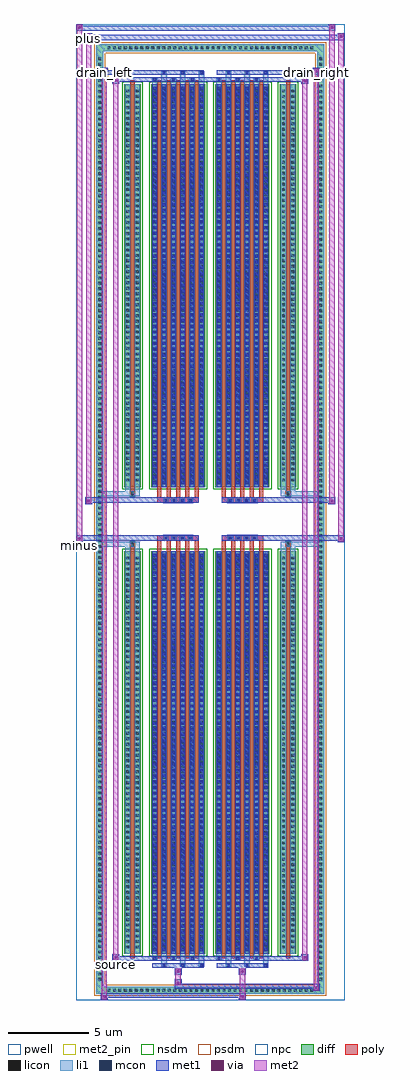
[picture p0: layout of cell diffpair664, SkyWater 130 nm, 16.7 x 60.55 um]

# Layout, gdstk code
import gdstk
lib = gdstk.Library(unit=1e-6, precision=5e-09)
def R(c, l, rs):  # rectangles x0, y0, x1, y1
    for r in rs: c.add(gdstk.rectangle(r[:2], r[2:], *l))
def A(c, l, x, y, w, h, nx, ny, dx, dy):  # array of equal rectangles
    R(c, l, [(x+i*dx, y+j*dy, x+i*dx+w, y+j*dy+h) for i in range(nx) for j in range(ny)])
def P(c, l, *ps):  # polygons
    for p in ps: c.add(gdstk.Polygon(p, *l))
pwell = (64, 44)
diff = (65, 20)
poly = (66, 20)
licon = (66, 44)
li1 = (67, 20)
mcon = (67, 44)
met1 = (68, 20)
via = (68, 44)
met2_pin = (69, 16)
met2 = (69, 20)
nsdm = (93, 44)
psdm = (94, 20)
npc = (95, 20)

diffpair664 = lib.new_cell('diffpair664')
R(diffpair664, pwell, [(-8.33,-29.84,8.33,30.71), (-5.65,-28.03,-0.01,-0.805), (0.01,-28.03,5.65,-0.805), (-5.65,0.805,-0.01,28.03), (0.01,0.805,5.65,28.03)])
A(diffpair664, diff, -6.495, -29.44, 0.41, 0.41, 38, 2, 0.34, 58.47)
A(diffpair664, diff, -7.06, -28.765, 0.41, 0.41, 1, 169, 0, 0.34)
A(diffpair664, diff, 6.65, -28.765, 0.41, 0.41, 1, 169, 0, 0.34)
R(diffpair664, diff, [(-6.495,-29.44,6.495,-29.03), (-7.06,-28.765,-6.65,28.765), (6.65,-28.765,7.06,28.765), (-5.34,-26.985,-4.31,-1.985), (-3.67,-26.985,-0.32,-1.985), (0.32,-26.985,3.67,-1.985), (4.31,-26.985,5.34,-1.985), (-5.34,1.985,-4.31,26.985), (-3.67,1.985,-0.32,26.985), (0.32,1.985,3.67,26.985), (4.31,1.985,5.34,26.985), (-6.495,29.03,6.495,29.44)])
P(diffpair664, diff, [(7.06,29.44),(-7.06,29.44),(-7.06,-29.03),(-6.65,-29.03),(-6.65,29.03),(6.65,29.03),(6.65,-29.03),(-6.65,-29.03),(-7.06,-29.03),(-7.06,-29.44),(7.06,-29.44)])
A(diffpair664, poly, -3.28, -27.235, 0.25, 25.5, 5, 2, 0.58, 28.97)
A(diffpair664, poly, 0.71, -27.235, 0.25, 25.5, 5, 2, 0.58, 28.97)
A(diffpair664, poly, -3.28, -1.735, 0.25, 0.4, 5, 2, 0.58, 3.07)
A(diffpair664, poly, 0.71, -1.735, 0.25, 0.4, 5, 2, 0.58, 3.07)
A(diffpair664, poly, -2.91, -1.335, 0.33, 0.33, 4, 2, 0.5, 2.34)
A(diffpair664, poly, 1.08, -1.335, 0.33, 0.33, 4, 2, 0.5, 2.34)
R(diffpair664, poly, [(-4.95,-27.235,-4.7,-1.735), (4.7,-27.235,4.95,-1.735), (-4.99,-1.735,-4.66,-1.405), (-4.99,-1.735,-4.66,-1.405), (4.66,-1.735,4.99,-1.405), (4.66,-1.735,4.99,-1.405), (-3.28,-1.335,-0.71,-1.005), (0.71,-1.335,3.28,-1.005), (-3.28,1.005,-0.71,1.335), (0.71,1.005,3.28,1.335), (-4.99,1.405,-4.66,1.735), (-4.99,1.405,-4.66,1.735), (4.66,1.405,4.99,1.735), (4.66,1.405,4.99,1.735), (-4.95,1.735,-4.7,27.235), (4.7,1.735,4.95,27.235)])
A(diffpair664, licon, -6.375, -29.32, 0.17, 0.17, 38, 2, 0.34, 58.47)
A(diffpair664, licon, -6.94, -28.645, 0.17, 0.17, 1, 169, 0, 0.34)
A(diffpair664, licon, 6.77, -28.645, 0.17, 0.17, 1, 169, 0, 0.34)
A(diffpair664, licon, -5.2, -26.64, 0.17, 0.17, 1, 72, 0, 0.34)
A(diffpair664, licon, -4.62, -26.64, 0.17, 0.17, 1, 72, 0, 0.34)
A(diffpair664, licon, -3.53, -26.64, 0.17, 0.17, 6, 72, 0.58, 0.34)
A(diffpair664, licon, 0.46, -26.64, 0.17, 0.17, 6, 72, 0.58, 0.34)
A(diffpair664, licon, 4.45, -26.64, 0.17, 0.17, 1, 72, 0, 0.34)
A(diffpair664, licon, 5.03, -26.64, 0.17, 0.17, 1, 72, 0, 0.34)
A(diffpair664, licon, -2.83, -1.255, 0.17, 0.17, 4, 2, 0.5, 2.34)
A(diffpair664, licon, 1.16, -1.255, 0.17, 0.17, 4, 2, 0.5, 2.34)
A(diffpair664, licon, -5.2, 2.33, 0.17, 0.17, 1, 72, 0, 0.34)
A(diffpair664, licon, -4.62, 2.33, 0.17, 0.17, 1, 72, 0, 0.34)
A(diffpair664, licon, -3.53, 2.33, 0.17, 0.17, 6, 72, 0.58, 0.34)
A(diffpair664, licon, 0.46, 2.33, 0.17, 0.17, 6, 72, 0.58, 0.34)
A(diffpair664, licon, 4.45, 2.33, 0.17, 0.17, 1, 72, 0, 0.34)
A(diffpair664, licon, 5.03, 2.33, 0.17, 0.17, 1, 72, 0, 0.34)
R(diffpair664, licon, [(-4.91,-1.655,-4.74,-1.485), (4.74,-1.655,4.91,-1.485), (-4.91,1.485,-4.74,1.655), (4.74,1.485,4.91,1.655)])
A(diffpair664, li1, -6.455, -29.4, 0.33, 0.33, 38, 2, 0.34, 58.47)
A(diffpair664, li1, -7.02, -28.725, 0.33, 0.33, 1, 169, 0, 0.34)
A(diffpair664, li1, 6.69, -28.725, 0.33, 0.33, 1, 169, 0, 0.34)
A(diffpair664, li1, -3.03, -27.79, 0.33, 0.805, 3, 2, 1.16, 54.775)
A(diffpair664, li1, -2.95, -27.79, 0.17, 0.17, 3, 2, 1.16, 55.41)
A(diffpair664, li1, 0.96, -27.79, 0.33, 0.805, 3, 2, 1.16, 54.775)
A(diffpair664, li1, 1.04, -27.79, 0.17, 0.17, 3, 2, 1.16, 55.41)
A(diffpair664, li1, -3.61, -27.36, 0.33, 0.375, 3, 2, 1.16, 54.345)
A(diffpair664, li1, -3.53, -27.36, 0.17, 0.17, 3, 2, 1.16, 54.55)
A(diffpair664, li1, 0.38, -27.36, 0.33, 0.375, 3, 2, 1.16, 54.345)
A(diffpair664, li1, 0.46, -27.36, 0.17, 0.17, 3, 2, 1.16, 54.55)
A(diffpair664, li1, -3.61, -26.985, 0.33, 25, 6, 2, 0.58, 28.97)
A(diffpair664, li1, 0.38, -26.985, 0.33, 25, 6, 2, 0.58, 28.97)
A(diffpair664, li1, -3.53, -26.81, 0.17, 0.17, 6, 69, 0.58, 0.36)
A(diffpair664, li1, -3.53, -26.81, 0.17, 24.65, 6, 2, 0.58, 28.97)
A(diffpair664, li1, 0.46, -26.81, 0.17, 0.17, 6, 69, 0.58, 0.36)
A(diffpair664, li1, 0.46, -26.81, 0.17, 24.65, 6, 2, 0.58, 28.97)
A(diffpair664, li1, -5.28, -26.72, 0.33, 0.33, 1, 72, 0, 0.34)
A(diffpair664, li1, -4.7, -26.72, 0.33, 0.33, 1, 72, 0, 0.34)
A(diffpair664, li1, -3.61, -26.72, 0.33, 0.33, 6, 72, 0.58, 0.34)
A(diffpair664, li1, 0.38, -26.72, 0.33, 0.33, 6, 72, 0.58, 0.34)
A(diffpair664, li1, 4.37, -26.72, 0.33, 0.33, 1, 72, 0, 0.34)
A(diffpair664, li1, 4.95, -26.72, 0.33, 0.33, 1, 72, 0, 0.34)
A(diffpair664, li1, -2.91, -1.335, 0.33, 0.33, 4, 2, 0.5, 2.34)
A(diffpair664, li1, 1.08, -1.335, 0.33, 0.33, 4, 2, 0.5, 2.34)
A(diffpair664, li1, -3.53, 2.16, 0.17, 0.17, 6, 69, 0.58, 0.36)
A(diffpair664, li1, 0.46, 2.16, 0.17, 0.17, 6, 69, 0.58, 0.36)
A(diffpair664, li1, -5.28, 2.25, 0.33, 0.33, 1, 72, 0, 0.34)
A(diffpair664, li1, -4.7, 2.25, 0.33, 0.33, 1, 72, 0, 0.34)
A(diffpair664, li1, -3.61, 2.25, 0.33, 0.33, 6, 72, 0.58, 0.34)
A(diffpair664, li1, 0.38, 2.25, 0.33, 0.33, 6, 72, 0.58, 0.34)
A(diffpair664, li1, 4.37, 2.25, 0.33, 0.33, 1, 72, 0, 0.34)
A(diffpair664, li1, 4.95, 2.25, 0.33, 0.33, 1, 72, 0, 0.34)
R(diffpair664, li1, [(-7.06,-29.44,-6.65,-29.03), (-7.06,-29.44,-6.65,-29.03), (-6.65,-29.44,6.65,-29.03), (6.65,-29.44,7.06,-29.03), (6.65,-29.44,7.06,-29.03), (-7.06,-29.03,-6.65,29.03), (6.65,-29.03,7.06,29.03), (-5.28,-26.985,-4.95,-1.985), (-4.7,-26.985,-4.37,-1.985), (4.37,-26.985,4.7,-1.985), (4.95,-26.985,5.28,-1.985), (-5.28,-1.985,-4.95,-1.405), (-4.7,-1.985,-4.37,-1.405), (4.37,-1.985,4.7,-1.405), (4.95,-1.985,5.28,-1.405), (-7.06,-1.735,-4.99,-1.405), (-5.28,-1.735,-4.99,-1.405), (-4.99,-1.735,-4.66,-1.405), (-4.66,-1.735,-4.37,-1.405), (4.37,-1.735,4.66,-1.405), (4.66,-1.735,4.99,-1.405), (4.66,-1.735,7.06,-1.405), (4.99,-1.735,5.28,-1.405), (-7.06,1.405,-4.99,1.735), (-5.28,1.405,-4.99,1.735), (-5.28,1.405,-4.95,1.985), (-4.99,1.405,-4.66,1.735), (-4.7,1.405,-4.37,1.985), (-4.66,1.405,-4.37,1.735), (4.37,1.405,4.66,1.735), (4.37,1.405,4.7,1.985), (4.66,1.405,4.99,1.735), (4.66,1.405,7.06,1.735), (4.95,1.405,5.28,1.985), (4.99,1.405,5.28,1.735), (-5.28,1.985,-4.95,26.985), (-4.7,1.985,-4.37,26.985), (4.37,1.985,4.7,26.985), (4.95,1.985,5.28,26.985), (-7.06,29.03,-6.65,29.44), (-7.06,29.03,-6.65,29.44), (-6.65,29.03,6.65,29.44), (6.65,29.03,7.06,29.44), (6.65,29.03,7.06,29.44)])
A(diffpair664, mcon, -2.95, -27.79, 0.17, 0.17, 3, 2, 1.16, 55.41)
A(diffpair664, mcon, 1.04, -27.79, 0.17, 0.17, 3, 2, 1.16, 55.41)
A(diffpair664, mcon, -3.53, -27.36, 0.17, 0.17, 3, 2, 1.16, 54.55)
A(diffpair664, mcon, 0.46, -27.36, 0.17, 0.17, 3, 2, 1.16, 54.55)
A(diffpair664, mcon, -3.53, -26.81, 0.17, 0.17, 6, 69, 0.58, 0.36)
A(diffpair664, mcon, 0.46, -26.81, 0.17, 0.17, 6, 69, 0.58, 0.36)
A(diffpair664, mcon, -2.83, -1.255, 0.17, 0.17, 4, 2, 0.5, 2.34)
A(diffpair664, mcon, 1.16, -1.255, 0.17, 0.17, 4, 2, 0.5, 2.34)
A(diffpair664, mcon, -3.53, 2.16, 0.17, 0.17, 6, 69, 0.58, 0.36)
A(diffpair664, mcon, 0.46, 2.16, 0.17, 0.17, 6, 69, 0.58, 0.36)
A(diffpair664, met1, -3.01, -27.85, 0.29, 0.29, 3, 2, 1.16, 55.41)
A(diffpair664, met1, 0.98, -27.85, 0.29, 0.29, 3, 2, 1.16, 55.41)
A(diffpair664, met1, -3.59, -27.42, 0.29, 0.29, 3, 2, 1.16, 54.55)
A(diffpair664, met1, 0.4, -27.42, 0.29, 0.29, 3, 2, 1.16, 54.55)
A(diffpair664, met1, -3.59, -26.985, 0.29, 25, 6, 2, 0.58, 28.97)
A(diffpair664, met1, 0.4, -26.985, 0.29, 25, 6, 2, 0.58, 28.97)
A(diffpair664, met1, -3.59, -26.87, 0.29, 0.29, 6, 69, 0.58, 0.36)
A(diffpair664, met1, 0.4, -26.87, 0.29, 0.29, 6, 69, 0.58, 0.36)
A(diffpair664, met1, -2.89, -1.315, 0.29, 0.29, 4, 2, 0.5, 2.34)
A(diffpair664, met1, 1.1, -1.315, 0.29, 0.29, 4, 2, 0.5, 2.34)
A(diffpair664, met1, -3.59, 2.1, 0.29, 0.29, 6, 69, 0.58, 0.36)
A(diffpair664, met1, 0.4, 2.1, 0.29, 0.29, 6, 69, 0.58, 0.36)
R(diffpair664, met1, [(-6.79,-29.84,-6.36,-29.41), (1.78,-29.84,2.21,-29.41), (-6.79,-29.7,2.21,-29.41), (6.36,-29.27,6.79,-28.84), (-2.21,-29.13,6.79,-28.84), (-2.21,-28.99,-1.78,-28.56), (-2.21,-28.28,-1.78,-27.85), (1.78,-28.28,2.21,-27.85), (-3.59,-27.85,-0.4,-27.56), (0.4,-27.85,3.59,-27.56), (-6.08,-27.42,-5.65,-26.99), (-6.08,-27.42,-3.59,-27.13), (-3.59,-27.42,-0.4,-27.13), (-0.4,-27.42,0.4,-27.13), (0.4,-27.42,3.59,-27.13), (3.59,-27.42,6.08,-27.13), (5.65,-27.42,6.08,-26.99), (-8.33,-1.435,-7.9,-1.005), (7.9,-1.435,8.33,-1.005), (-8.33,-1.335,-0.71,-1.005), (-3.28,-1.335,-0.71,-1.005), (0.71,-1.335,3.28,-1.005), (0.71,-1.335,8.33,-1.005), (-7.76,0.905,-7.33,1.335), (7.33,0.905,7.76,1.335), (-7.76,1.005,-3.28,1.335), (-3.28,1.005,-0.71,1.335), (0.71,1.005,3.28,1.335), (3.28,1.005,7.76,1.335), (-6.08,26.99,-5.65,27.42), (5.65,26.99,6.08,27.42), (-6.08,27.13,-3.59,27.42), (-3.59,27.13,-0.4,27.42), (-0.4,27.13,0.4,27.42), (0.4,27.13,3.59,27.42), (3.59,27.13,6.08,27.42), (-6.79,27.56,-6.36,27.99), (-6.79,27.56,-3.59,27.85), (-3.59,27.56,-0.4,27.85), (0.4,27.56,3.59,27.85), (3.59,27.56,6.79,27.85), (6.36,27.56,6.79,27.99), (-7.76,29.71,-7.33,30.14), (-7.76,29.71,-5.65,30.04), (-5.65,29.71,5.65,30.04), (5.65,29.71,8.33,30.04), (7.9,29.71,8.33,30.14), (-8.33,30.28,-7.9,30.71), (-8.33,30.28,-5.65,30.61), (-5.65,30.28,5.65,30.61), (5.65,30.28,7.76,30.61), (7.33,30.28,7.76,30.71)])
R(diffpair664, via, [(-6.65,-29.7,-6.5,-29.55), (1.92,-29.7,2.07,-29.55), (6.5,-29.13,6.65,-28.98), (-2.07,-28.85,-1.92,-28.7), (-2.07,-28.14,-1.92,-27.99), (1.92,-28.14,2.07,-27.99), (-5.94,-27.28,-5.79,-27.13), (5.79,-27.28,5.94,-27.13), (-8.19,-1.295,-8.04,-1.145), (8.04,-1.295,8.19,-1.145), (-7.62,1.045,-7.47,1.195), (7.47,1.045,7.62,1.195), (-5.94,27.13,-5.79,27.28), (5.79,27.13,5.94,27.28), (-6.65,27.7,-6.5,27.85), (6.5,27.7,6.65,27.85), (-7.62,29.85,-7.47,30), (8.04,29.85,8.19,30), (-8.19,30.42,-8.04,30.57), (7.47,30.42,7.62,30.57)])
R(diffpair664, met2_pin, [(-6.115,-27.87,-5.615,-27.37), (-8.365,-1.885,-7.865,-1.385), (-6.825,27.44,-6.325,27.94), (6.325,27.44,6.825,27.94), (-7.795,29.59,-7.295,30.09)])
R(diffpair664, met2, [(-6.74,-29.79,-6.41,-29.46), (-6.74,-29.79,-6.41,27.94), (1.83,-29.79,2.16,-29.46), (1.83,-29.46,2.16,-28.23), (6.41,-29.22,6.74,-28.89), (6.41,-29.22,6.74,27.94), (-2.16,-28.94,-1.83,-28.61), (-2.16,-28.61,-1.83,-28.23), (-2.16,-28.23,-1.83,-27.9), (1.83,-28.23,2.16,-27.9), (-6.03,-27.37,-5.7,-27.04), (-6.03,-27.37,-5.7,27.37), (5.7,-27.37,6.03,-27.04), (5.7,-27.37,6.03,27.37), (-8.28,-1.385,-7.95,-1.055), (-8.28,-1.385,-7.95,30.66), (7.95,-1.385,8.28,-1.055), (7.95,-1.385,8.28,30.09), (-7.71,0.955,-7.38,1.285), (-7.71,0.955,-7.38,30.09), (7.38,0.955,7.71,1.285), (7.38,0.955,7.71,30.66), (-6.03,27.04,-5.7,27.37), (5.7,27.04,6.03,27.37), (-6.74,27.61,-6.41,27.94), (6.41,27.61,6.74,27.94), (-7.71,29.76,-7.38,30.09), (7.95,29.76,8.28,30.09), (-8.28,30.33,-7.95,30.66), (7.38,30.33,7.71,30.66)])
P(diffpair664, met2, [(8.28,-1.385),(8.28,-1.385),(8.28,-1.055),(8.28,-1.055)],
  [(8.28,29.76),(8.28,29.76),(8.28,30.09),(8.28,30.09)],
  [(-7.95,-1.385),(-7.95,-1.385),(-7.95,-1.055),(-7.95,-1.055)],
  [(-7.95,30.33),(-7.95,30.33),(-7.95,30.66),(-7.95,30.66)],
  [(7.71,0.955),(7.71,0.955),(7.71,1.285),(7.71,1.285)],
  [(7.71,30.33),(7.71,30.33),(7.71,30.66),(7.71,30.66)],
  [(-7.38,0.955),(-7.38,0.955),(-7.38,1.285),(-7.38,1.285)],
  [(-7.38,29.76),(-7.38,29.76),(-7.38,30.09),(-7.38,30.09)],
  [(-6.41,-29.79),(-6.41,-29.79),(-6.41,-29.46),(-6.41,-29.46)],
  [(-6.41,27.61),(-6.41,27.61),(-6.41,27.94),(-6.41,27.94)],
  [(6.74,-29.22),(6.74,-29.22),(6.74,-28.89),(6.74,-28.89)],
  [(6.74,27.61),(6.74,27.61),(6.74,27.94),(6.74,27.94)],
  [(-5.7,-27.37),(-5.7,-27.37),(-5.7,-27.04),(-5.7,-27.04)],
  [(-5.7,27.04),(-5.7,27.04),(-5.7,27.37),(-5.7,27.37)],
  [(6.03,-27.37),(6.03,-27.37),(6.03,-27.04),(6.03,-27.04)],
  [(6.03,27.04),(6.03,27.04),(6.03,27.37),(6.03,27.37)])
R(diffpair664, nsdm, [(-5.47,-27.115,-4.18,-1.855), (-3.8,-27.115,-0.19,-1.855), (0.19,-27.115,3.8,-1.855), (4.18,-27.115,5.47,-1.855), (-5.47,1.855,-4.18,27.115), (-3.8,1.855,-0.19,27.115), (0.19,1.855,3.8,27.115), (4.18,1.855,5.47,27.115)])
P(diffpair664, psdm, [(7.19,29.57),(-7.19,29.57),(-7.19,-28.9),(-6.52,-28.9),(-6.52,28.9),(6.52,28.9),(6.52,-28.9),(-6.52,-28.9),(-7.19,-28.9),(-7.19,-29.57),(7.19,-29.57)])
A(diffpair664, npc, -2.93, -1.355, 0.37, 0.37, 4, 2, 0.5, 2.34)
A(diffpair664, npc, 1.06, -1.355, 0.37, 0.37, 4, 2, 0.5, 2.34)
R(diffpair664, npc, [(-5.01,-1.755,-4.64,-1.385), (4.64,-1.755,5.01,-1.385), (-2.93,-1.355,-2.06,-0.985), (-2.93,-1.355,-2.06,-0.985), (-2.43,-1.355,-1.56,-0.985), (-2.43,-1.355,-1.56,-0.985), (-1.93,-1.355,-1.06,-0.985), (-1.93,-1.355,-1.06,-0.985), (1.06,-1.355,1.93,-0.985), (1.06,-1.355,1.93,-0.985), (1.56,-1.355,2.43,-0.985), (1.56,-1.355,2.43,-0.985), (2.06,-1.355,2.93,-0.985), (2.06,-1.355,2.93,-0.985), (-2.93,0.985,-2.06,1.355), (-2.93,0.985,-2.06,1.355), (-2.43,0.985,-1.56,1.355), (-2.43,0.985,-1.56,1.355), (-1.93,0.985,-1.06,1.355), (-1.93,0.985,-1.06,1.355), (1.06,0.985,1.93,1.355), (1.06,0.985,1.93,1.355), (1.56,0.985,2.43,1.355), (1.56,0.985,2.43,1.355), (2.06,0.985,2.93,1.355), (2.06,0.985,2.93,1.355), (-5.01,1.385,-4.64,1.755), (4.64,1.385,5.01,1.755)])
diffpair664.add(gdstk.Label('minus', (-8.115,-1.635), layer=69, texttype=5))
diffpair664.add(gdstk.Label('drain_right', (6.575,27.69), layer=69, texttype=5))
diffpair664.add(gdstk.Label('drain_left', (-6.575,27.69), layer=69, texttype=5))
diffpair664.add(gdstk.Label('source', (-5.865,-27.62), layer=69, texttype=5))
diffpair664.add(gdstk.Label('plus', (-7.545,29.84), layer=69, texttype=5))

lib.write_gds('diffpair664.gds')
